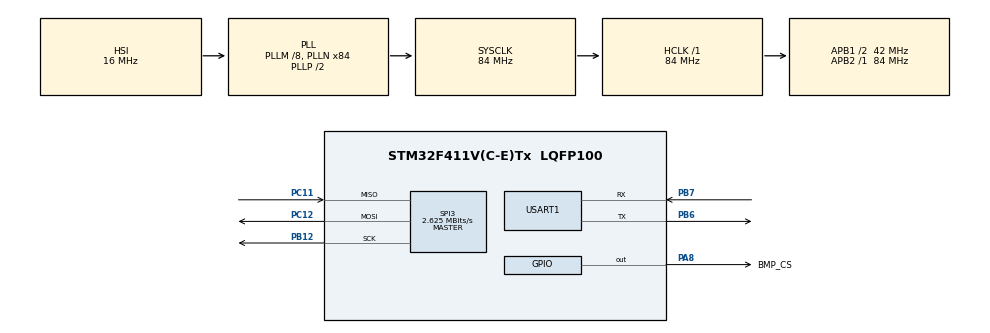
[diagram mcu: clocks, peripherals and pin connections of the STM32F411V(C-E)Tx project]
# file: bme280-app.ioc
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Mcu.Family=STM32F4
TIM10.Prescaler=83
RCC.CortexFreq_Value=84000000
SPI3.Direction=SPI_DIRECTION_2LINES
SPI3.VirtualType=VM_MASTER
PC12.Signal=SPI3_MOSI
PC11.Signal=SPI3_MISO
TIM11.Prescaler=9165
RCC.APB1CLKDivider=RCC_HCLK_DIV2
RCC.SYSCLKSource=RCC_SYSCLKSOURCE_PLLCLK
ProjectManager.StackSize=0x400
VP_TIM11_VS_ClockSourceINT.Mode=Enable_Timer
PA13.Signal=SYS_JTMS-SWDIO
PA8.GPIO_Label=BMP_CS
ProjectManager.TargetToolchain=STM32CubeIDE
RCC.HCLKFreq_Value=84000000
RCC.APB2TimFreq_Value=84000000
PB6.Signal=USART1_TX
VP_TIM10_VS_ClockSourceINT.Mode=Enable_Timer
PB6.Mode=Asynchronous
RCC.LSE_VALUE=32768
RCC.AHBFreq_Value=84000000
NVIC.TIM1_TRG_COM_TIM11_IRQn=true\:0\:0\:false\:false\:true\:true\:true
RCC.HSE_VALUE=25000000
PC12.Mode=Full_Duplex_Master
board=custom
RCC.VCOOutputFreq_Value=168000000
TIM11.Period=9165
RCC.APB2Freq_Value=84000000
SPI3.CalculateBaudRate=2.625 MBits/s
PA14.Mode=Serial_Wire
SPI3.BaudRatePrescaler=SPI_BAUDRATEPRESCALER_16
PB7.Signal=USART1_RX
PA8.Signal=GPIO_Output
PA13.Mode=Serial_Wire
Mcu.Name=STM32F411V(C-E)Tx
RCC.48MHZClocksFreq_Value=42000000
TIM11.ClockDivision=TIM_CLOCKDIVISION_DIV4
RCC.SYSCLKFreq_VALUE=84000000
Mcu.Package=LQFP100
PB12.Mode=Full_Duplex_Master
SPI3.Mode=SPI_MODE_MASTER
USART1.VirtualMode=VM_ASYNC
PB7.Mode=Asynchronous
PA14.Signal=SYS_JTCK-SWCLK
ProjectManager.HeapSize=0x200
PC11.Mode=Full_Duplex_Master
RCC.HSI_VALUE=16000000
NVIC.PriorityGroup=NVIC_PRIORITYGROUP_4
RCC.PLLM=8
RCC.PLLN=84
RCC.APB1TimFreq_Value=84000000
NVIC.USART1_IRQn=true\:0\:0\:false\:false\:true\:true\:true
RCC.APB1Freq_Value=42000000
PB12.Signal=SPI3_SCK

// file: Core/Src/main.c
/* USER CODE BEGIN Header */
/**
  ******************************************************************************
  * @file           : main.c
  * @brief          : Main program body
  ******************************************************************************
  * @attention
  *
  * <h2><center>&copy; Copyright (c) 2021 STMicroelectronics.
  * All rights reserved.</center></h2>
  *
  * This software component is licensed by ST under BSD 3-Clause license,
  * the "License"; You may not use this file except in compliance with the
  * License. You may obtain a copy of the License at:
  *                        opensource.org/licenses/BSD-3-Clause
  *
  ******************************************************************************
  */
/* USER CODE END Header */
#include "main.h"
#include "spi.h"
#include "tim.h"
#include "usart.h"
#include "gpio.h"

/* USER CODE BEGIN Includes */
#include <stdbool.h>
#include <string.h>
#include <stdlib.h>

#include "bme280.h"
#include "ring_buffer.h"
#include "printf_to_uart.h"
#include "utils.h"
/* USER CODE END Includes */

void SystemClock_Config(void);

/* USER CODE BEGIN 0 */

BME280 bme_280;

uint32_t sample_time_meas_ms = 1000UL;
uint32_t timer_meas = 0UL;

#define RINGBUF_SIZE 180
RingBuffer rb_temperature;
RingBuffer rb_pressure;
RingBuffer rb_humidity;

float temperature_buffer[RINGBUF_SIZE];
float pressure_buffer[RINGBUF_SIZE];
float humidity_buffer[RINGBUF_SIZE];

#define LINE_MAX_LENGTH 80
static char line_buffer[LINE_MAX_LENGTH + 1];
static uint32_t line_length;
uint8_t last_received_byte;

void line_append() {
	if (last_received_byte == '\r' || last_received_byte == '\n') {
		if (line_length > 0) {
			line_buffer[line_length] = '\0';

			if (strcmp(line_buffer, "get temp") == 0) {
				printf("%.2f\n", BME280_ReadTemperature(&bme_280));
			} else if (strcmp(line_buffer, "get press") == 0) {
				printf("%.2f\n", BME280_ReadPressure(&bme_280) / (float) 100.0);
			} else if (strcmp(line_buffer, "get hum") == 0) {
				printf("%.2f\n", BME280_ReadHuminidity(&bme_280));
			} else if (strcmp(line_buffer, "get meas temp") == 0) {
				float temperature;
				while (RingBuffer_GetFloat(&rb_temperature, &temperature)) {
					printf("%.2f\n", temperature);
				}
				printf("End buffer\n");
			} else if (strcmp(line_buffer, "get meas hum") == 0) {
				float humidity;
				while (RingBuffer_GetFloat(&rb_humidity, &humidity)) {
					printf("%.2f\n", humidity);
				}
				printf("End buffer\n");
			} else if (strcmp(line_buffer, "get meas press") == 0) {
				float pressure;
				while (RingBuffer_GetFloat(&rb_pressure, &pressure)) {
					printf("%.2f\n", pressure);
				}
				printf("End buffer\n");
			} else if (string_starts_with("set sampling rate", line_buffer)) {
				// extract "set sampling rate part"
				char* token = strtok(line_buffer, ":");

				// extract the number after ":"
				token = strtok(NULL, ":");

				// multiplied by 1000 because it needs to be converted to miliseconds
				uint32_t received_sampling_rate = atoi(token);
				sample_time_meas_ms = received_sampling_rate * 1000;
				timer_meas = 0UL;
			} else if (strcmp(line_buffer, "get sampling_rate")) {
				printf("%lu seconds\n", (uint32_t) (sample_time_meas_ms / 1000));
			}
			else {
				printf("Command not found\n");
			}
			memset(line_buffer, '\0', LINE_MAX_LENGTH);
			line_length = 0;
		}
	} else {
		if (line_length >= LINE_MAX_LENGTH) {
			line_length = 0;
		}
		line_buffer[line_length++] = last_received_byte;
	}
	HAL_UART_Receive_IT(&huart1, &last_received_byte, 1);
}

void HAL_UART_RxCpltCallback(UART_HandleTypeDef *huart) {
	line_append();
}

/* USER CODE END 0 */

int main(void)
{

  /* MCU Configuration--------------------------------------------------------*/

  /* Reset of all peripherals, Initializes the Flash interface and the Systick. */
  HAL_Init();

  /* Configure the system clock */
  SystemClock_Config();

  /* Initialize all configured peripherals */
  MX_GPIO_Init();
  MX_SPI3_Init();
  MX_TIM10_Init();
  MX_USART1_UART_Init();
  MX_TIM11_Init();
  /* USER CODE BEGIN 2 */
  HAL_TIM_Base_Start(&htim10);
  HAL_TIM_Base_Start_IT(&htim11);

  BME280_InitHardware(&bme_280, &hspi3, BMP_CS_GPIO_Port, BMP_CS_Pin);
  BME280_InitChip(&bme_280, BME280_TEMPERATURE_16BIT, BME280_PRESSURE_ULTRALOWPOWER,
		  BME280_HUMINIDITY_STANDARD, BME280_NORMALMODE);
  BME280_SetConfig(&bme_280, BME280_STANDBY_MS_10, BME280_FILTER_OFF);

  RingBuffer_Init(&rb_temperature, temperature_buffer, RINGBUF_SIZE);
  RingBuffer_Init(&rb_pressure, pressure_buffer, RINGBUF_SIZE);
  RingBuffer_Init(&rb_humidity, humidity_buffer, RINGBUF_SIZE);

  HAL_UART_Receive_IT(&huart1, &last_received_byte, 1);
  /* USER CODE END 2 */

  /* Infinite loop */
  /* USER CODE BEGIN WHILE */
  while (1)
  {
	  if (HAL_GetTick() - timer_meas >= sample_time_meas_ms) {
		  timer_meas = HAL_GetTick();
		  float temperature;
		  int32_t pressure;
		  float humidity;
		  BME280_ReadTemperatureAndPressureAndHuminidity(&bme_280, &temperature, &pressure, &humidity);
		  RingBuffer_PutFloat(&rb_temperature, temperature);
		  RingBuffer_PutFloat(&rb_pressure, pressure / (float) 100.0);
		  RingBuffer_PutFloat(&rb_humidity, humidity);
	  }

    /* USER CODE END WHILE */

  }
}

void SystemClock_Config(void)
{
  RCC_OscInitTypeDef RCC_OscInitStruct = {0};
  RCC_ClkInitTypeDef RCC_ClkInitStruct = {0};

  /** Configure the main internal regulator output voltage
  */
  __HAL_RCC_PWR_CLK_ENABLE();
  __HAL_PWR_VOLTAGESCALING_CONFIG(PWR_REGULATOR_VOLTAGE_SCALE1);
  /** Initializes the RCC Oscillators according to the specified parameters
  * in the RCC_OscInitTypeDef structure.
  */
  RCC_OscInitStruct.OscillatorType = RCC_OSCILLATORTYPE_HSI;
  RCC_OscInitStruct.HSIState = RCC_HSI_ON;
  RCC_OscInitStruct.HSICalibrationValue = RCC_HSICALIBRATION_DEFAULT;
  RCC_OscInitStruct.PLL.PLLState = RCC_PLL_ON;
  RCC_OscInitStruct.PLL.PLLSource = RCC_PLLSOURCE_HSI;
  RCC_OscInitStruct.PLL.PLLM = 8;
  RCC_OscInitStruct.PLL.PLLN = 84;
  RCC_OscInitStruct.PLL.PLLP = RCC_PLLP_DIV2;
  RCC_OscInitStruct.PLL.PLLQ = 4;
  if (HAL_RCC_OscConfig(&RCC_OscInitStruct) != HAL_OK)
  {
    Error_Handler();
  }
  /** Initializes the CPU, AHB and APB buses clocks
  */
  RCC_ClkInitStruct.ClockType = RCC_CLOCKTYPE_HCLK|RCC_CLOCKTYPE_SYSCLK
                              |RCC_CLOCKTYPE_PCLK1|RCC_CLOCKTYPE_PCLK2;
  RCC_ClkInitStruct.SYSCLKSource = RCC_SYSCLKSOURCE_PLLCLK;
  RCC_ClkInitStruct.AHBCLKDivider = RCC_SYSCLK_DIV1;
  RCC_ClkInitStruct.APB1CLKDivider = RCC_HCLK_DIV2;
  RCC_ClkInitStruct.APB2CLKDivider = RCC_HCLK_DIV1;

  if (HAL_RCC_ClockConfig(&RCC_ClkInitStruct, FLASH_LATENCY_2) != HAL_OK)
  {
    Error_Handler();
  }
}

void Error_Handler(void)
{
  __disable_irq();
  while (1)
  {
  }
}

/************************ (C) COPYRIGHT STMicroelectronics *****END OF FILE****/
